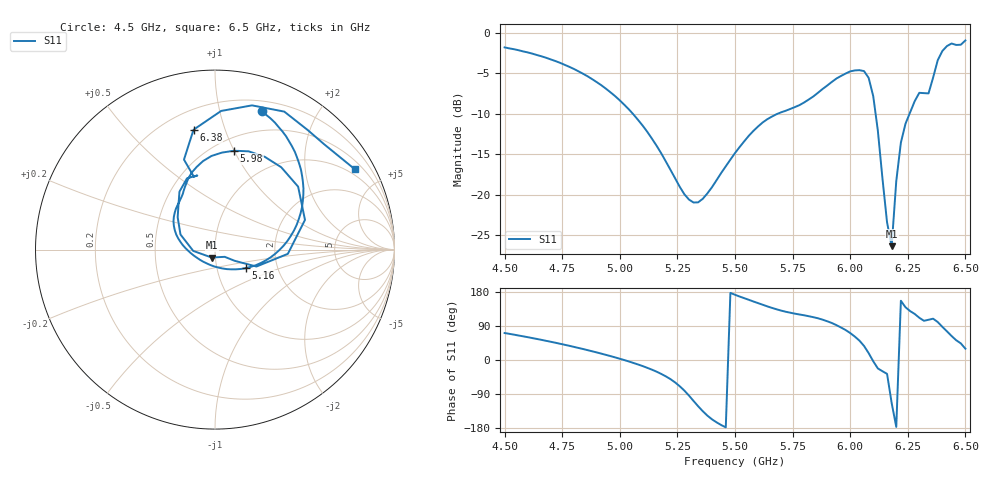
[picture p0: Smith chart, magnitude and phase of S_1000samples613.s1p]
! TOUCHSTONE file generated by CST MICROWAVE STUDIO
! Date and time: Fri Oct 28 18:50:59 2022
! Project name: L.cst
! Parameters = {Di=1.27; Epsilon_r=1.56; InnerDiameter=1.27; Length=2; Lf=10; Lg=60; OuterConductorThickness=0.2921; OuterDiameter=3.6; Wf=3; Wp=41.2; de=1.5; df=6.8; g=0.8; gx=2.77879; gy=2.51888; h=2.34; hf=1.524; px=13.9666; py=13.607; w=9.7; wx=11.1878; wy=11.0881}
! Header version: 2018
! Port assignment regex: !\s*Touchstone port\s*([0-9]+)\s*=\s*(CST MWS port|CST DS port)\s*([0-9]+|Zmin|Zmax)\s*\(\"(.*)\"\)(\s*mode\s*([0-9]+))?.*
! Touchstone port assignment:
! Touchstone port 1 = CST MWS port 1 ("")
# GHz S DB R 50
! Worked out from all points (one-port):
!   101 points, 4.5 GHz to 6.5 GHz, reference 50 ohm
!   lowest |S11| = -26.4 dB at 6.18 GHz (marker M1), VSWR 1.10, Z = 47.9 - j4.24 ohm
!   |S11| at or under -10 dB: 5.057 GHz to 5.684 GHz (627.1 MHz wide, 11.7 % of centre); 6.11 GHz to 6.258 GHz (147.3 MHz wide, 2.38 % of centre)
!   S11 on the Smith chart (normalised r, x): 4.5 GHz: 0.30, +1.36; 5.16 GHz: 1.38, -0.30; 5.98 GHz: 0.62, +1.00; 6.38 GHz: 0.32, +0.79; 6.5 GHz: 0.77, +3.59
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4.5  -1.79 71.1
4.76  -3.93 40.3
5  -8.34 3.3
5.16  -13.96 -30.9
5.26  -19.01 -69.2
5.34  -20.94 -122.0
5.5  -14.84 172.1
5.62  -11.07 145.8
5.76  -9.16 122.3
5.88  -6.93 106.5
5.98  -5.02 79.1
6  -4.75 71.1
6.06  -4.72 37.1
6.08  -5.55 18.3
6.1  -7.82 -3.3
6.12  -12.06 -22.2
6.16  -23.41 -36.6
6.18  -26.35 -113.6
6.2  -18.30 -176.6
6.22  -13.56 156.4
6.26  -9.83 129.1
6.3  -7.40 111.5
6.34  -7.47 106.2
6.36  -5.51 109.0
6.38  -3.37 100.2
6.4  -2.23 87.5
6.44  -1.31 63.3
6.5  -0.93 29.9
